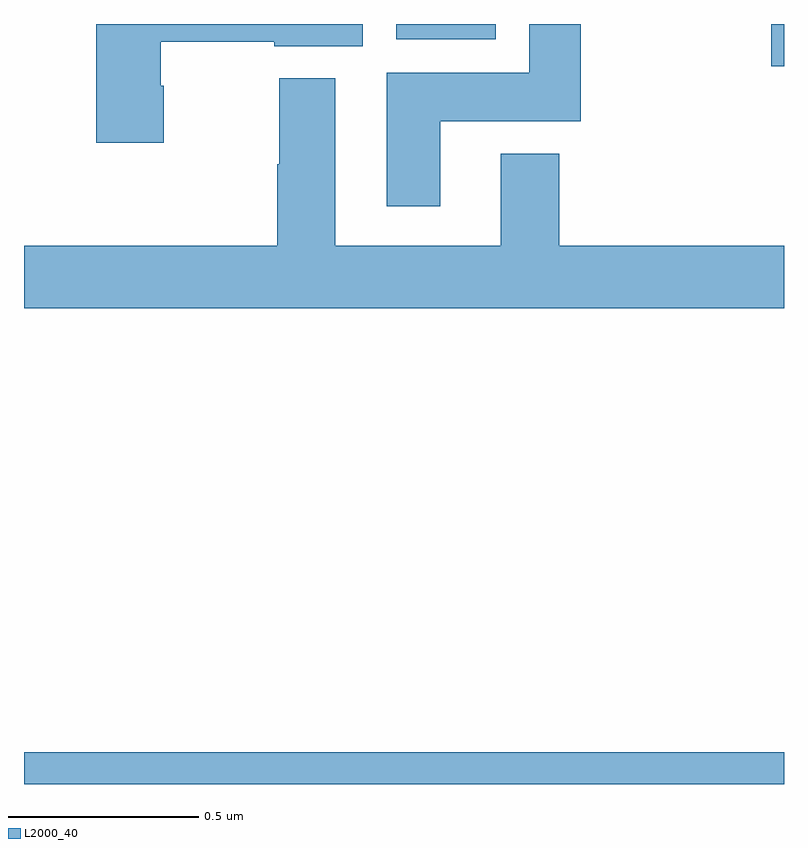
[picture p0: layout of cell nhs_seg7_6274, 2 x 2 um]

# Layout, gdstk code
import gdstk
lib = gdstk.Library(unit=1e-6, precision=1e-09)
def R(c, l, rs):  # rectangles x0, y0, x1, y1
    for r in rs: c.add(gdstk.rectangle(r[:2], r[2:], *l))
def P(c, l, *ps):  # polygons
    for p in ps: c.add(gdstk.Polygon(p, *l))
L2000_40 = (2000, 40)

nhs_seg7_6274 = lib.new_cell('nhs_seg7_6274')
R(nhs_seg7_6274, L2000_40, [(196,1030,198,1030.084), (197.966,1031.889,198,1032), (196.979,1031.96,197.242,1032)])
P(nhs_seg7_6274, L2000_40, [(197.095,1031.744),(197.465,1031.744),(197.465,1032),(197.33,1032),(197.33,1031.872),(196.955,1031.872),(196.955,1031.52),(197.095,1031.52)],
  [(196.368,1031.838),(196.36,1031.838),(196.36,1031.953),(196.658,1031.953),(196.658,1031.942),(196.891,1031.942),(196.891,1032),(196.19,1032),(196.19,1031.688),(196.368,1031.688)],
  [(198,1031.416),(197.408,1031.416),(197.408,1031.659),(197.255,1031.659),(197.255,1031.416),(196.819,1031.416),(196.819,1031.857),(196.672,1031.857),(196.672,1031.631),(196.667,1031.631),(196.667,1031.416),(196,1031.416),(196,1031.252),(198,1031.252)])

lib.write_gds('nhs_seg7_6274.gds')
